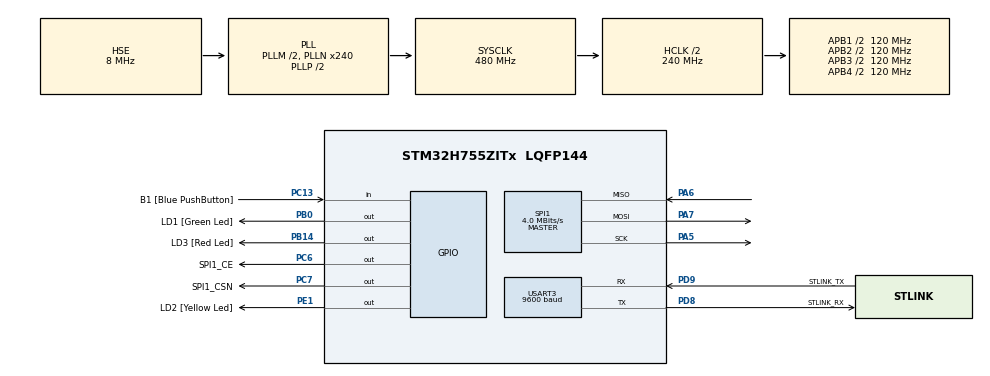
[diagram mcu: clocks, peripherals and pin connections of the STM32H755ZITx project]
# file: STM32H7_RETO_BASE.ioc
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CORTEX_M7.default_mode_Activation=1
CortexM4.IPs=BDMA,CORTEX_M4\:I,DEBUG,DMA,FATFS_M4\:I,FREERTOS_M4\:I,GPIO,IWDG2\:I,MDMA,NVIC2\:I,OPENAMP_M4\:I,PDM2PCM_M4\:I,PWR,RCC,RESMGR_UTILITY,SYS_M4\:I,USB_DEVICE_M4\:I,USB_HOST_M4\:I,VREFBUF,WWDG2\:I,USART3,SPI1
CortexM4.Pins=PE1
CortexM7.IPs=BDMA\:I,CORTEX_M7\:I,DEBUG\:I,DMA\:I,FATFS_M7\:I,FREERTOS_M7\:I,GPIO\:I,IWDG1\:I,MDMA\:I,NVIC1\:I,OPENAMP_M7\:I,PDM2PCM_M7\:I,PWR\:I,RCC\:I,RESMGR_UTILITY\:I,SYS\:I,USB_DEVICE_M7\:I,USB_HOST_M7\:I,VREFBUF\:I,WWDG1\:I,USART3\:I,SPI5\:I,SPI1\:I,DMA2D\:I
CortexM7.Pins=PC13,PB0,PB14,PC6,PC7
Mcu.Family=STM32H7
Mcu.Name=STM32H755ZITx
Mcu.Package=LQFP144
NVIC1.PriorityGroup=NVIC_PRIORITYGROUP_4
NVIC2.PriorityGroup=NVIC_PRIORITYGROUP_4
PA5.Mode=Full_Duplex_Master
PA5.PinAttribute=CortexM7
PA5.Signal=SPI1_SCK
PA6.Mode=Full_Duplex_Master
PA6.PinAttribute=CortexM7
PA6.Signal=SPI1_MISO
PA7.Mode=Full_Duplex_Master
PA7.PinAttribute=CortexM7
PA7.Signal=SPI1_MOSI
PB0.GPIO_Label=LD1 [Green Led]
PB0.PinAttribute=CortexM7
PB0.Signal=GPIO_Output
PB14.GPIO_Label=LD3 [Red Led]
PB14.PinAttribute=CortexM7
PB14.Signal=GPIO_Output
PC13.GPIO_Label=B1 [Blue PushButton]
PC13.PinAttribute=CortexM7
PC13.Signal=GPIO_Input
PC14-OSC32_IN\ (OSC32_IN).Mode=LSE-External-Oscillator
PC14-OSC32_IN\ (OSC32_IN).PinAttribute=Free
PC14-OSC32_IN\ (OSC32_IN).Signal=RCC_OSC32_IN
PC15-OSC32_OUT\ (OSC32_OUT).Mode=LSE-External-Oscillator
PC15-OSC32_OUT\ (OSC32_OUT).PinAttribute=Free
PC15-OSC32_OUT\ (OSC32_OUT).Signal=RCC_OSC32_OUT
PC6.GPIO_Label=SPI1_CE
PC6.PinAttribute=CortexM7
PC6.Signal=GPIO_Output
PC7.GPIO_Label=SPI1_CSN
PC7.PinAttribute=CortexM7
PC7.Signal=GPIO_Output
PD8.GPIO_Label=STLINK_RX
PD8.Mode=Asynchronous
PD8.PinAttribute=CortexM7
PD8.Signal=USART3_TX
PD9.GPIO_Label=STLINK_TX
PD9.Mode=Asynchronous
PD9.PinAttribute=CortexM7
PD9.Signal=USART3_RX
PE1.GPIO_Label=LD2 [Yellow Led]
PE1.PinAttribute=CortexM4
PE1.Signal=GPIO_Output
PH0-OSC_IN\ (PH0).Mode=HSE-External-Clock-Source
PH0-OSC_IN\ (PH0).PinAttribute=Free
PH0-OSC_IN\ (PH0).Signal=RCC_OSC_IN
ProjectManager.HeapSize=M4-0x200,M7-0x200
ProjectManager.StackSize=M4-0x400,M7-0x400
ProjectManager.TargetToolchain=STM32CubeIDE
RCC.ADCFreq_Value=16125000
RCC.APB1Freq_Value=120000000
RCC.APB2Freq_Value=120000000
RCC.APB3Freq_Value=120000000
RCC.APB4Freq_Value=120000000
RCC.CortexFreq_Value=480000000
RCC.D1PPRE=RCC_APB3_DIV2
RCC.D2PPRE1=RCC_APB1_DIV2
RCC.D2PPRE2=RCC_APB2_DIV2
RCC.D3PPRE=RCC_APB4_DIV2
RCC.DIVM1=2
RCC.DIVN1=240
RCC.HCLKFreq_Value=240000000
RCC.HPRE=RCC_HCLK_DIV2
RCC.HSE_VALUE=8000000
RCC.PLL2FRACN=0
RCC.PLL3FRACN=0
RCC.PLLFRACN=0
RCC.PLLSourceVirtual=RCC_PLLSOURCE_HSE
RCC.SPI123CLockSelection=RCC_SPI123CLKSOURCE_CLKP
RCC.SYSCLKFreq_VALUE=480000000
RCC.SYSCLKSource=RCC_SYSCLKSOURCE_PLLCLK
RCC.USBFreq_Value=480000000
SPI1.BaudRatePrescaler=SPI_BAUDRATEPRESCALER_16
SPI1.CRCCalculation=SPI_CRCCALCULATION_DISABLE
SPI1.CalculateBaudRate=4.0 MBits/s
SPI1.DataSize=SPI_DATASIZE_8BIT
SPI1.Direction=SPI_DIRECTION_2LINES
SPI1.Mode=SPI_MODE_MASTER
SPI1.VirtualType=VM_MASTER
SYS.userName=SYS_M7
USART3.BaudRate=9600
USART3.VirtualMode-Asynchronous=VM_ASYNC
VP_SYS_M4_VS_Systick.Mode=SysTick
board=custom

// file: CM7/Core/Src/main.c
/* USER CODE BEGIN Header */
/**
  ******************************************************************************
  * @file           : main.c
  * @brief          : Main program body
  ******************************************************************************
  * @attention
  *
  * Copyright (c) 2024 STMicroelectronics.
  * All rights reserved.
  *
  * This software is licensed under terms that can be found in the LICENSE file
  * in the root directory of this software component.
  * If no LICENSE file comes with this software, it is provided AS-IS.
  *
  ******************************************************************************
  */
/* USER CODE END Header */
#include "main.h"

/* USER CODE BEGIN Includes */
#include "MY_NRF24.h"
/* USER CODE END Includes */

/* USER CODE BEGIN PD */

#ifndef HSEM_ID_0
#define HSEM_ID_0 (0U) /* HW semaphore 0*/
#endif

/* USER CODE END PD */

SPI_HandleTypeDef hspi1;

UART_HandleTypeDef huart3;

void SystemClock_Config(void);
void PeriphCommonClock_Config(void);
static void MPU_Config(void);
static void MX_GPIO_Init(void);
static void MX_USART3_UART_Init(void);
static void MX_SPI1_Init(void);

/* USER CODE BEGIN 0 */
uint8_t tx_buffer[10] = "AGUACATE";
uint8_t rx_buffer;
/* USER CODE END 0 */

int main(void)
{

/* USER CODE BEGIN Boot_Mode_Sequence_0 */
  int32_t timeout;
/* USER CODE END Boot_Mode_Sequence_0 */

  /* MPU Configuration--------------------------------------------------------*/
  MPU_Config();

/* USER CODE BEGIN Boot_Mode_Sequence_1 */
  /* Wait until CPU2 boots and enters in stop mode or timeout*/
  timeout = 0xFFFF;
  while((__HAL_RCC_GET_FLAG(RCC_FLAG_D2CKRDY) != RESET) && (timeout-- > 0));
  if ( timeout < 0 )
  {
  Error_Handler();
  }
/* USER CODE END Boot_Mode_Sequence_1 */
  /* MCU Configuration--------------------------------------------------------*/

  /* Reset of all peripherals, Initializes the Flash interface and the Systick. */
  HAL_Init();

  /* Configure the system clock */
  SystemClock_Config();

  /* Configure the peripherals common clocks */
  PeriphCommonClock_Config();
/* USER CODE BEGIN Boot_Mode_Sequence_2 */
/* When system initialization is finished, Cortex-M7 will release Cortex-M4 by means of
HSEM notification */
/*HW semaphore Clock enable*/
__HAL_RCC_HSEM_CLK_ENABLE();
/*Take HSEM */
HAL_HSEM_FastTake(HSEM_ID_0);
/*Release HSEM in order to notify the CPU2(CM4)*/
HAL_HSEM_Release(HSEM_ID_0,0);
/* wait until CPU2 wakes up from stop mode */
timeout = 0xFFFF;
while((__HAL_RCC_GET_FLAG(RCC_FLAG_D2CKRDY) == RESET) && (timeout-- > 0));
if ( timeout < 0 )
{
Error_Handler();
}
/* USER CODE END Boot_Mode_Sequence_2 */

  /* USER CODE BEGIN SysInit */

//  const uint64_t pipe_address = 0x11223344AALL;
//  char myRxData[50];
//  char myTxData[50] = "MANGOS_2";
//  char myAckPayload[32] = "Ack by STMF7!";
//
  uint64_t pipe_address = 0x11223344AALL;
  char myRxData[50];
  uint8_t buffer[6];
  char myAckPayload[32] = "Ack by STMF7!";

  /* USER CODE END SysInit */

  /* Initialize all configured peripherals */
  MX_GPIO_Init();
  MX_USART3_UART_Init();
  MX_SPI1_Init();
  /* USER CODE BEGIN 2 */
  //SPI
  NRF24_begin(GPIOC, GPIO_PIN_6, GPIO_PIN_7, hspi1); // Ajusta según tu configuración de pines
//  nrf24_DebugUART_Init(huart3);
//  NRF24_openReadingPipe(1, pipe_address); // Abre el pipe 1 con la dirección configurada
//  NRF24_setAutoAck(false);
//  NRF24_setChannel(52); // Canal de RF, asegúrate que coincida con el Arduino
//  NRF24_setDataRate(RF24_2MBPS); // Velocidad de datos, debe coincidir con el Arduino
//  NRF24_startListening(); // Comienza a escuchar
//  NRF24_begin(GPIOC, GPIO_PIN_7, GPIO_PIN_6, hspi5); // Ajusta según tu configuración de pines
	nrf24_DebugUART_Init(huart3);
	NRF24_openReadingPipe(1, pipe_address); // Abre el pipe 1 con la dirección configurada
	NRF24_setAutoAck(false);
	NRF24_setChannel(52); // Canal de RF, asegúrate que coincida con el Arduino
	NRF24_setPayloadSize(32);
	NRF24_setDataRate(RF24_2MBPS); // Velocidad de datos, debe coincidir con el Arduino
	NRF24_enableDynamicPayloads();
	NRF24_enableAckPayload();
	NRF24_startListening(); // Comienza a escuchar
	printRadioSettings();
	uint8_t x;
	uint8_t y;
	uint8_t a;

  //NRF24_enableDynamicPayloads();
  //NRF24_enableAckPayload();
  /* USER CODE END 2 */

  /* Infinite loop */
  /* USER CODE BEGIN WHILE */
  while (1)
  {
//		HAL_UART_Transmit(&huart3,tx_buffer,10,10);
//		HAL_Delay(100);

//		if (NRF24_available()) {
////		  HAL_UART_Transmit(&huart3,tx_buffer,10,10);
////		  uint8_t receivedMessage;
////		  NRF24_read(myRxData, 32);  // Lee el mensaje recibido
////
////		  //char buffer[10];
////		  //sprintf(buffer, "0x%02X\n", receivedMessage);
////		  myRxData[32] = '\r'; myRxData[32+1] = '\n';
////		  HAL_UART_Transmit(&huart3, (uint8_t*)myRxData, 32+2, 10);  // Imprime el valor recibido en formato hexadecimal
//
//		  HAL_Delay(100);
//		  NRF24_write(myTxData, 32);
//		  HAL_Delay(100);
//		}
//	  	  printf("TEST\n\r");

	  	  if(NRF24_available())
	  	  {
			NRF24_read(buffer, 6);

			if(buffer[0] == 0xFF && buffer[1] == 0xFF){
//				printf("Coordinates not found\r\n");
			}
			else{
				x = (buffer[0]<<8|buffer[1]);
				y = (buffer[2]<<8|buffer[3]);
				a = (buffer[4]<<8|buffer[5]);
//				snprintf(myRxData, 32, "%u %u %u \r\n", (buffer[0]<<8|buffer[1]), (buffer[2]<<8|buffer[3]), (buffer[4]<<8|buffer[5]));
				printf("x = %u, y = %u, a = %u \r\n", x,y,a);

			}
//			printf("test");
			NRF24_writeAckPayload(1, myAckPayload, 32);
//			HAL_UART_Transmit(&huart3, (uint8_t *)myRxData, strlen(myRxData), 10);
	  	  }

//		  HAL_Delay(100);

//	printf("Ricardo Jorge Ivan Rogelio TEAM: MANGOS CON QUESO\n\r");

//	if (HAL_UART_Receive(&huart3,&rx_buffer,1,HAL_MAX_DELAY) == HAL_OK) {
//		const uint8_t c = rx_buffer;
//		HAL_UART_Transmit(&huart3,&c,1,1);
// 	}

//	printf("A\n\r");
    /* USER CODE END WHILE */

  }
}

void SystemClock_Config(void)
{
  RCC_OscInitTypeDef RCC_OscInitStruct = {0};
  RCC_ClkInitTypeDef RCC_ClkInitStruct = {0};

  /** Supply configuration update enable
  */
  HAL_PWREx_ConfigSupply(PWR_LDO_SUPPLY);

  /** Configure the main internal regulator output voltage
  */
  __HAL_PWR_VOLTAGESCALING_CONFIG(PWR_REGULATOR_VOLTAGE_SCALE1);

  while(!__HAL_PWR_GET_FLAG(PWR_FLAG_VOSRDY)) {}

  __HAL_RCC_SYSCFG_CLK_ENABLE();
  __HAL_PWR_VOLTAGESCALING_CONFIG(PWR_REGULATOR_VOLTAGE_SCALE0);

  while(!__HAL_PWR_GET_FLAG(PWR_FLAG_VOSRDY)) {}

  /** Initializes the RCC Oscillators according to the specified parameters
  * in the RCC_OscInitTypeDef structure.
  */
  RCC_OscInitStruct.OscillatorType = RCC_OSCILLATORTYPE_HSI|RCC_OSCILLATORTYPE_HSE;
  RCC_OscInitStruct.HSEState = RCC_HSE_BYPASS;
  RCC_OscInitStruct.HSIState = RCC_HSI_DIV1;
  RCC_OscInitStruct.HSICalibrationValue = RCC_HSICALIBRATION_DEFAULT;
  RCC_OscInitStruct.PLL.PLLState = RCC_PLL_ON;
  RCC_OscInitStruct.PLL.PLLSource = RCC_PLLSOURCE_HSE;
  RCC_OscInitStruct.PLL.PLLM = 2;
  RCC_OscInitStruct.PLL.PLLN = 240;
  RCC_OscInitStruct.PLL.PLLP = 2;
  RCC_OscInitStruct.PLL.PLLQ = 2;
  RCC_OscInitStruct.PLL.PLLR = 2;
  RCC_OscInitStruct.PLL.PLLRGE = RCC_PLL1VCIRANGE_2;
  RCC_OscInitStruct.PLL.PLLVCOSEL = RCC_PLL1VCOWIDE;
  RCC_OscInitStruct.PLL.PLLFRACN = 0;
  if (HAL_RCC_OscConfig(&RCC_OscInitStruct) != HAL_OK)
  {
    Error_Handler();
  }

  /** Initializes the CPU, AHB and APB buses clocks
  */
  RCC_ClkInitStruct.ClockType = RCC_CLOCKTYPE_HCLK|RCC_CLOCKTYPE_SYSCLK
                              |RCC_CLOCKTYPE_PCLK1|RCC_CLOCKTYPE_PCLK2
                              |RCC_CLOCKTYPE_D3PCLK1|RCC_CLOCKTYPE_D1PCLK1;
  RCC_ClkInitStruct.SYSCLKSource = RCC_SYSCLKSOURCE_PLLCLK;
  RCC_ClkInitStruct.SYSCLKDivider = RCC_SYSCLK_DIV1;
  RCC_ClkInitStruct.AHBCLKDivider = RCC_HCLK_DIV2;
  RCC_ClkInitStruct.APB3CLKDivider = RCC_APB3_DIV2;
  RCC_ClkInitStruct.APB1CLKDivider = RCC_APB1_DIV2;
  RCC_ClkInitStruct.APB2CLKDivider = RCC_APB2_DIV2;
  RCC_ClkInitStruct.APB4CLKDivider = RCC_APB4_DIV2;

  if (HAL_RCC_ClockConfig(&RCC_ClkInitStruct, FLASH_LATENCY_4) != HAL_OK)
  {
    Error_Handler();
  }
}

void PeriphCommonClock_Config(void)
{
  RCC_PeriphCLKInitTypeDef PeriphClkInitStruct = {0};

  /** Initializes the peripherals clock
  */
  PeriphClkInitStruct.PeriphClockSelection = RCC_PERIPHCLK_CKPER;
  PeriphClkInitStruct.CkperClockSelection = RCC_CLKPSOURCE_HSI;
  if (HAL_RCCEx_PeriphCLKConfig(&PeriphClkInitStruct) != HAL_OK)
  {
    Error_Handler();
  }
}

static void MX_SPI1_Init(void)
{

  /* SPI1 parameter configuration*/
  hspi1.Instance = SPI1;
  hspi1.Init.Mode = SPI_MODE_MASTER;
  hspi1.Init.Direction = SPI_DIRECTION_2LINES;
  hspi1.Init.DataSize = SPI_DATASIZE_8BIT;
  hspi1.Init.CLKPolarity = SPI_POLARITY_LOW;
  hspi1.Init.CLKPhase = SPI_PHASE_1EDGE;
  hspi1.Init.NSS = SPI_NSS_SOFT;
  hspi1.Init.BaudRatePrescaler = SPI_BAUDRATEPRESCALER_16;
  hspi1.Init.FirstBit = SPI_FIRSTBIT_MSB;
  hspi1.Init.TIMode = SPI_TIMODE_DISABLE;
  hspi1.Init.CRCCalculation = SPI_CRCCALCULATION_DISABLE;
  hspi1.Init.CRCPolynomial = 0x0;
  hspi1.Init.NSSPMode = SPI_NSS_PULSE_ENABLE;
  hspi1.Init.NSSPolarity = SPI_NSS_POLARITY_LOW;
  hspi1.Init.FifoThreshold = SPI_FIFO_THRESHOLD_01DATA;
  hspi1.Init.TxCRCInitializationPattern = SPI_CRC_INITIALIZATION_ALL_ZERO_PATTERN;
  hspi1.Init.RxCRCInitializationPattern = SPI_CRC_INITIALIZATION_ALL_ZERO_PATTERN;
  hspi1.Init.MasterSSIdleness = SPI_MASTER_SS_IDLENESS_00CYCLE;
  hspi1.Init.MasterInterDataIdleness = SPI_MASTER_INTERDATA_IDLENESS_00CYCLE;
  hspi1.Init.MasterReceiverAutoSusp = SPI_MASTER_RX_AUTOSUSP_DISABLE;
  hspi1.Init.MasterKeepIOState = SPI_MASTER_KEEP_IO_STATE_DISABLE;
  hspi1.Init.IOSwap = SPI_IO_SWAP_DISABLE;
  if (HAL_SPI_Init(&hspi1) != HAL_OK)
  {
    Error_Handler();
  }

}

static void MX_USART3_UART_Init(void)
{

  huart3.Instance = USART3;
  huart3.Init.BaudRate = 9600;
  huart3.Init.WordLength = UART_WORDLENGTH_8B;
  huart3.Init.StopBits = UART_STOPBITS_1;
  huart3.Init.Parity = UART_PARITY_NONE;
  huart3.Init.Mode = UART_MODE_TX_RX;
  huart3.Init.HwFlowCtl = UART_HWCONTROL_NONE;
  huart3.Init.OverSampling = UART_OVERSAMPLING_16;
  huart3.Init.OneBitSampling = UART_ONE_BIT_SAMPLE_DISABLE;
  huart3.Init.ClockPrescaler = UART_PRESCALER_DIV1;
  huart3.AdvancedInit.AdvFeatureInit = UART_ADVFEATURE_NO_INIT;
  if (HAL_UART_Init(&huart3) != HAL_OK)
  {
    Error_Handler();
  }
  if (HAL_UARTEx_SetTxFifoThreshold(&huart3, UART_TXFIFO_THRESHOLD_1_8) != HAL_OK)
  {
    Error_Handler();
  }
  if (HAL_UARTEx_SetRxFifoThreshold(&huart3, UART_RXFIFO_THRESHOLD_1_8) != HAL_OK)
  {
    Error_Handler();
  }
  if (HAL_UARTEx_DisableFifoMode(&huart3) != HAL_OK)
  {
    Error_Handler();
  }

}

static void MX_GPIO_Init(void)
{
  GPIO_InitTypeDef GPIO_InitStruct = {0};

  /* GPIO Ports Clock Enable */
  __HAL_RCC_GPIOC_CLK_ENABLE();
  __HAL_RCC_GPIOA_CLK_ENABLE();
  __HAL_RCC_GPIOB_CLK_ENABLE();
  __HAL_RCC_GPIOD_CLK_ENABLE();

  /*Configure GPIO pin Output Level */
  HAL_GPIO_WritePin(GPIOB, LD1_Pin|LD3_Pin, GPIO_PIN_RESET);

  /*Configure GPIO pin Output Level */
  HAL_GPIO_WritePin(GPIOC, SPI1_CE_Pin|SPI1_CSN_Pin, GPIO_PIN_RESET);

  /*Configure GPIO pin : B1_Pin */
  GPIO_InitStruct.Pin = B1_Pin;
  GPIO_InitStruct.Mode = GPIO_MODE_INPUT;
  GPIO_InitStruct.Pull = GPIO_NOPULL;
  HAL_GPIO_Init(B1_GPIO_Port, &GPIO_InitStruct);

  /*Configure GPIO pins : LD1_Pin LD3_Pin */
  GPIO_InitStruct.Pin = LD1_Pin|LD3_Pin;
  GPIO_InitStruct.Mode = GPIO_MODE_OUTPUT_PP;
  GPIO_InitStruct.Pull = GPIO_NOPULL;
  GPIO_InitStruct.Speed = GPIO_SPEED_FREQ_LOW;
  HAL_GPIO_Init(GPIOB, &GPIO_InitStruct);

  /*Configure GPIO pins : SPI1_CE_Pin SPI1_CSN_Pin */
  GPIO_InitStruct.Pin = SPI1_CE_Pin|SPI1_CSN_Pin;
  GPIO_InitStruct.Mode = GPIO_MODE_OUTPUT_PP;
  GPIO_InitStruct.Pull = GPIO_NOPULL;
  GPIO_InitStruct.Speed = GPIO_SPEED_FREQ_LOW;
  HAL_GPIO_Init(GPIOC, &GPIO_InitStruct);

}

 /* MPU Configuration */

void MPU_Config(void)
{
  MPU_Region_InitTypeDef MPU_InitStruct = {0};

  /* Disables the MPU */
  HAL_MPU_Disable();

  /** Initializes and configures the Region and the memory to be protected
  */
  MPU_InitStruct.Enable = MPU_REGION_ENABLE;
  MPU_InitStruct.Number = MPU_REGION_NUMBER0;
  MPU_InitStruct.BaseAddress = 0x0;
  MPU_InitStruct.Size = MPU_REGION_SIZE_4GB;
  MPU_InitStruct.SubRegionDisable = 0x87;
  MPU_InitStruct.TypeExtField = MPU_TEX_LEVEL0;
  MPU_InitStruct.AccessPermission = MPU_REGION_NO_ACCESS;
  MPU_InitStruct.DisableExec = MPU_INSTRUCTION_ACCESS_DISABLE;
  MPU_InitStruct.IsShareable = MPU_ACCESS_SHAREABLE;
  MPU_InitStruct.IsCacheable = MPU_ACCESS_NOT_CACHEABLE;
  MPU_InitStruct.IsBufferable = MPU_ACCESS_NOT_BUFFERABLE;

  HAL_MPU_ConfigRegion(&MPU_InitStruct);
  /* Enables the MPU */
  HAL_MPU_Enable(MPU_PRIVILEGED_DEFAULT);

}

void Error_Handler(void)
{
  __disable_irq();
  while (1)
  {
  }
}
